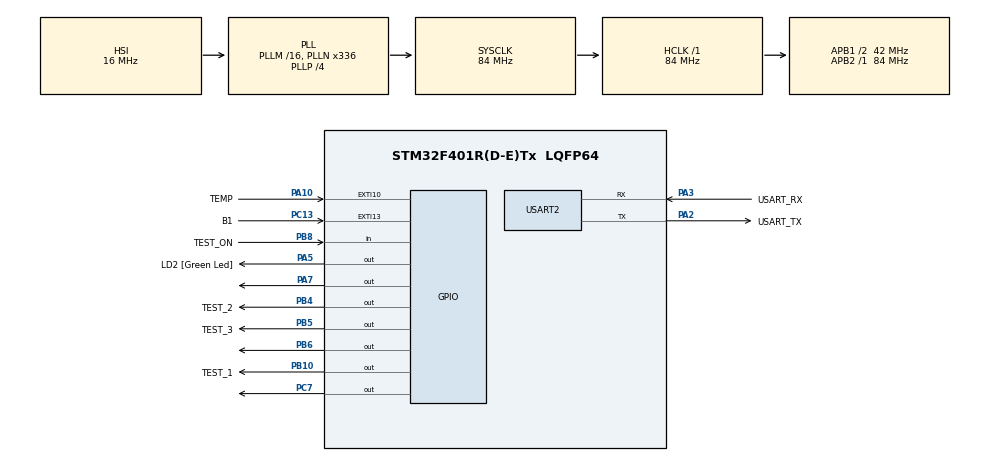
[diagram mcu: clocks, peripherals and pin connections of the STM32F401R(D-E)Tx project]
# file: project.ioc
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Mcu.Family=STM32F4
Mcu.Name=STM32F401R(D-E)Tx
Mcu.Package=LQFP64
NVIC.EXTI15_10_IRQn=true\:0\:0\:false\:false\:true\:true\:true\:true
NVIC.PriorityGroup=NVIC_PRIORITYGROUP_0
PA10.GPIO_Label=TEMP
PA10.GPIO_ModeDefaultEXTI=GPIO_MODE_IT_RISING_FALLING
PA10.GPIO_PuPd=GPIO_NOPULL
PA10.Signal=GPXTI10
PA13.GPIO_Label=TMS
PA13.Mode=Serial_Wire
PA13.Signal=SYS_JTMS-SWDIO
PA14.GPIO_Label=TCK
PA14.Mode=Serial_Wire
PA14.Signal=SYS_JTCK-SWCLK
PA2.GPIO_Label=USART_TX
PA2.GPIO_Mode=GPIO_MODE_AF_PP
PA2.GPIO_PuPd=GPIO_NOPULL
PA2.GPIO_Speed=GPIO_SPEED_FREQ_LOW
PA2.Mode=Asynchronous
PA2.Signal=USART2_TX
PA3.GPIO_Label=USART_RX
PA3.GPIO_Mode=GPIO_MODE_AF_PP
PA3.GPIO_PuPd=GPIO_NOPULL
PA3.GPIO_Speed=GPIO_SPEED_FREQ_LOW
PA3.Mode=Asynchronous
PA3.Signal=USART2_RX
PA5.GPIO_Label=LD2 [Green Led]
PA5.GPIO_Mode=GPIO_MODE_OUTPUT_PP
PA5.GPIO_PuPd=GPIO_NOPULL
PA5.GPIO_Speed=GPIO_SPEED_FREQ_LOW
PA5.Signal=GPIO_Output
PA7.Signal=GPIO_Output
PB10.GPIO_Label=TEST_1
PB10.Signal=GPIO_Output
PB3.GPIO_Label=SWO
PB3.Signal=SYS_JTDO-SWO
PB4.GPIO_Label=TEST_2
PB4.Signal=GPIO_Output
PB5.GPIO_Label=TEST_3
PB5.Signal=GPIO_Output
PB6.Signal=GPIO_Output
PB8.GPIO_Label=TEST_ON
PB8.GPIO_PuPd=GPIO_PULLDOWN
PB8.Signal=GPIO_Input
PC13-ANTI_TAMP.GPIO_Label=B1
PC13-ANTI_TAMP.GPIO_ModeDefaultEXTI=GPIO_MODE_IT_FALLING
PC13-ANTI_TAMP.GPIO_PuPd=GPIO_PULLDOWN
PC13-ANTI_TAMP.Signal=GPXTI13
PC14-OSC32_IN.Mode=LSE-External-Oscillator
PC14-OSC32_IN.Signal=RCC_OSC32_IN
PC15-OSC32_OUT.Mode=LSE-External-Oscillator
PC15-OSC32_OUT.Signal=RCC_OSC32_OUT
PC7.Signal=GPIO_Output
PH0\ -\ OSC_IN.Mode=HSE-External-Clock-Source
PH0\ -\ OSC_IN.Signal=RCC_OSC_IN
PH1\ -\ OSC_OUT.Mode=HSE-External-Clock-Source
PH1\ -\ OSC_OUT.Signal=RCC_OSC_OUT
ProjectManager.HeapSize=0x200
ProjectManager.StackSize=0x400
ProjectManager.TargetToolchain=STM32CubeIDE
RCC.48MHZClocksFreq_Value=48000000
RCC.AHBFreq_Value=84000000
RCC.APB1CLKDivider=RCC_HCLK_DIV2
RCC.APB1Freq_Value=42000000
RCC.APB1TimFreq_Value=84000000
RCC.APB2Freq_Value=84000000
RCC.APB2TimFreq_Value=84000000
RCC.CortexFreq_Value=84000000
RCC.HCLKFreq_Value=84000000
RCC.HSE_VALUE=8000000
RCC.HSI_VALUE=16000000
RCC.PLLN=336
RCC.PLLP=RCC_PLLP_DIV4
RCC.PLLQ=7
RCC.SYSCLKFreq_VALUE=84000000
RCC.SYSCLKSource=RCC_SYSCLKSOURCE_PLLCLK
RCC.VCOOutputFreq_Value=336000000
USART2.VirtualMode=VM_ASYNC
VP_TIM1_VS_ClockSourceINT.Mode=Internal
board=NUCLEO-F401RE

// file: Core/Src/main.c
/* USER CODE BEGIN Header */
/**
 ******************************************************************************
 * @file           : main.c
 * @brief          : Main program body
 ******************************************************************************
 * @attention
 *
 * Copyright (c) 2022 STMicroelectronics.
 * All rights reserved.
 *
 * This software is licensed under terms that can be found in the LICENSE file
 * in the root directory of this software component.
 * If no LICENSE file comes with this software, it is provided AS-IS.
 *
 ******************************************************************************
 */
/* USER CODE END Header */
#include "main.h"

/* USER CODE BEGIN Includes */
#include <stdbool.h>
#include <stdlib.h>
#include "utci.h"
#include "dht.h"

//#define LOGGING

#ifdef LOGGING
#include <stdio.h>
#endif
/* USER CODE END Includes */

TIM_HandleTypeDef htim1;

UART_HandleTypeDef huart2;

/* USER CODE BEGIN PV */
#define BUTTON_DELAY 500

DHT_t am2301;
uint8_t am2301_ok;

enum state {
	ALARM_ON,       // Alarm currently on: light red, speaker playing
	ALARM_CHECKING, // Device monitoring temperature: light green, speaker off
	ALARM_OFF // Alarm off due to override: light yellow, speaker off, no monitoring
};

#define TEST1_TARGET 1000 //MS delay
/* USER CODE END PV */

void SystemClock_Config(void);
static void MX_GPIO_Init(void);
static void MX_USART2_UART_Init(void);
static void MX_TIM1_Init(void);
/* USER CODE BEGIN PFP */
#ifdef LOGGING
#ifdef __GNUC__
#define PUTCHAR_PROTOTYPE int __io_putchar(int ch)
#else
#define PUTCHAR_PROTOTYPE int fputc(int ch, FILE *f)
#endif
#endif
/* USER CODE END PFP */

/* USER CODE BEGIN 0 */

void set_LED(enum state curr_state)
{
	bool R = false; // Boolean to write to pin D9
	bool G = false; // Boolean to write to pin D10
	bool B = false; // Boolean to write to pin D11

	switch (curr_state) {
	case ALARM_ON:       // Red colour
		R = true;
		G = false;
		B = false;
		break;
	case ALARM_CHECKING: // Green colour
		R = false;
		G = true;
		B = false;
		break;
	case ALARM_OFF:      // Yellow colour
		R = true;
		G = true;
		B = false;
		break;
	}

	if (R) {
		HAL_GPIO_WritePin(GPIOC, GPIO_PIN_7, GPIO_PIN_SET);
	} else {
		HAL_GPIO_WritePin(GPIOC, GPIO_PIN_7, GPIO_PIN_RESET);
	}

	if (G) {
		HAL_GPIO_WritePin(GPIOB, GPIO_PIN_6, GPIO_PIN_SET);
	} else {
		HAL_GPIO_WritePin(GPIOB, GPIO_PIN_6, GPIO_PIN_RESET);
	}

	if (B) {
		HAL_GPIO_WritePin(GPIOA, LD2_Pin | GPIO_PIN_7, GPIO_PIN_SET);
	} else {
		HAL_GPIO_WritePin(GPIOA, LD2_Pin | GPIO_PIN_7, GPIO_PIN_RESET);
	}
}

float calc_humidex(float temp, float humidity)
{
	return (temp + (0.5555 * (humidity - 10.0)));
}

#define HIGH_TEMP 39
#define LOW_TEMP 0

/**
 * Define situation as above "moderate heat stress" and below "moderate cold stress"
 */
void change_state(enum state *curr_state, float humidex_temp)
{
	if ((*curr_state) == ALARM_OFF) {
		return;
	}

	if (humidex_temp > HIGH_TEMP || humidex_temp < LOW_TEMP) {
		(*curr_state) = ALARM_ON;
	} else {
		(*curr_state) = ALARM_CHECKING;
	}
}

#define R_TEMP_LOW 10
#define R_TEMP_HIGH 50
#define R_HUMID_LOW 0
#define R_HUMID_HIGH 100

void test2_random()
{
	enum state test_state = ALARM_CHECKING;

	uint32_t rand_temp = 0;
	uint32_t rand_humid = 0;
	float validate = 0.0;
	float humidex_temp = 0.0;
	bool success = false;

	srand(HAL_GetTick());

	for (uint32_t i = 0; i < 100; ++i) {
		test_state = ALARM_CHECKING;
		success = false;
		rand_temp = R_TEMP_LOW + rand() % (R_TEMP_HIGH - R_TEMP_LOW);
		rand_humid = R_HUMID_LOW + rand() % (R_HUMID_HIGH - R_HUMID_LOW);

		humidex_temp = calc_humidex(rand_temp, rand_humid);

		change_state(&test_state, humidex_temp);

		set_LED(test_state);

		validate = rand_temp + (0.5555 * (rand_humid - 10.0));
		switch(test_state) {
		case ALARM_ON:
			success = (validate > HIGH_TEMP) || (validate < LOW_TEMP);
			break;
		case ALARM_CHECKING:
			success = (validate <= HIGH_TEMP) || (validate >= LOW_TEMP);
			break;
		case ALARM_OFF:
			success = false;
		}

		if (success) {
			HAL_GPIO_WritePin(GPIOB, TEST_2_Pin | GPIO_PIN_6, GPIO_PIN_SET);
		} else {
			HAL_GPIO_WritePin(GPIOB, TEST_2_Pin | GPIO_PIN_6, GPIO_PIN_RESET);
		}

		HAL_Delay(1000);
	}
}

/* USER CODE END 0 */

int main(void)
{

	/* MCU Configuration--------------------------------------------------------*/

	/* Reset of all peripherals, Initializes the Flash interface and the Systick. */
	HAL_Init();

	/* Configure the system clock */
	SystemClock_Config();

	/* Initialize all configured peripherals */
	MX_GPIO_Init();
	MX_USART2_UART_Init();
	MX_TIM1_Init();
	/* USER CODE BEGIN 2 */
	DHT_init(&am2301, DHT_Type_AM2301, &htim1, 84, TEMP_GPIO_Port,
	TEMP_Pin);

	enum state curr_state = ALARM_CHECKING;
	bool alarm_set = false;
	bool testing = false;
	float temp = 0.0;
	float humidity = 0.0; // in RH
	float humidex_temp = 0.0;
	bool test_run = false;

	uint32_t test1_tstart = 0;
	uint32_t test1_elapsed = 0;

	/* USER CODE END 2 */

	/* Infinite loop */
	/* USER CODE BEGIN WHILE */
	while (true) {
		/* USER CODE END WHILE */

		/* USER CODE BEGIN 3 */
		if (HAL_GPIO_ReadPin(TEST_ON_GPIO_Port, TEST_ON_Pin)) {
			testing = true;
		} else {
			testing = false;
		}

		if (testing && !test_run) {
			test2_random();
			test_run = true;
		}

		if (testing) {
			test1_tstart = HAL_GetTick(	); // stores current time since system start in MS
		}

		set_LED(curr_state);

		if (alarm_set) {
			HAL_Delay(BUTTON_DELAY);
			alarm_set = false;
		}

		if (!(HAL_GPIO_ReadPin(B1_GPIO_Port, B1_Pin))) {
			switch (curr_state) {
			case ALARM_ON:
			case ALARM_CHECKING:
				curr_state = ALARM_OFF;
				break;
			case ALARM_OFF:
				curr_state = ALARM_CHECKING;
				break;
			}

			alarm_set = true;
		}

		am2301_ok = DHT_readData(&am2301, &temp, &humidity);

#ifdef LOGGING
		printf("Data OK: %d\n", am2301.dataValid);
		printf("Raw: %4.2f %4.2f\n", am2301.temperature,
				am2301.humidity);
		printf("Temperature: %4.2f %4.2f\n", temp, humidity);
#endif

		humidex_temp = (float) calc_humidex(temp, humidity);

#ifdef LOGGING
		printf("UTCI temperature: %4.2f\n", utci_temp);
#endif

		change_state(&curr_state, humidex_temp);

		if (testing) {
			test1_elapsed = HAL_GetTick() - test1_tstart;
			if (test1_elapsed < TEST1_TARGET) {
				HAL_GPIO_WritePin(GPIOB, TEST_1_Pin | GPIO_PIN_6,
						GPIO_PIN_SET);
			} else {
				HAL_GPIO_WritePin(GPIOB, TEST_1_Pin | GPIO_PIN_6,
						GPIO_PIN_RESET);
			}
		} else {
			HAL_GPIO_WritePin(GPIOB, TEST_1_Pin | GPIO_PIN_6,
									GPIO_PIN_RESET);
			HAL_GPIO_WritePin(GPIOB, TEST_2_Pin | GPIO_PIN_6,
									GPIO_PIN_RESET);
			HAL_GPIO_WritePin(GPIOB, TEST_3_Pin | GPIO_PIN_6,
									GPIO_PIN_RESET);
		}
	}
	/* USER CODE END 3 */
}

void SystemClock_Config(void)
{
	RCC_OscInitTypeDef RCC_OscInitStruct = { 0 };
	RCC_ClkInitTypeDef RCC_ClkInitStruct = { 0 };

	/** Configure the main internal regulator output voltage
	 */
	__HAL_RCC_PWR_CLK_ENABLE();
	__HAL_PWR_VOLTAGESCALING_CONFIG(PWR_REGULATOR_VOLTAGE_SCALE2);

	/** Initializes the RCC Oscillators according to the specified parameters
	 * in the RCC_OscInitTypeDef structure.
	 */
	RCC_OscInitStruct.OscillatorType = RCC_OSCILLATORTYPE_HSI;
	RCC_OscInitStruct.HSIState = RCC_HSI_ON;
	RCC_OscInitStruct.HSICalibrationValue = RCC_HSICALIBRATION_DEFAULT;
	RCC_OscInitStruct.PLL.PLLState = RCC_PLL_ON;
	RCC_OscInitStruct.PLL.PLLSource = RCC_PLLSOURCE_HSI;
	RCC_OscInitStruct.PLL.PLLM = 16;
	RCC_OscInitStruct.PLL.PLLN = 336;
	RCC_OscInitStruct.PLL.PLLP = RCC_PLLP_DIV4;
	RCC_OscInitStruct.PLL.PLLQ = 7;
	if (HAL_RCC_OscConfig(&RCC_OscInitStruct) != HAL_OK) {
		Error_Handler();
	}

	/** Initializes the CPU, AHB and APB buses clocks
	 */
	RCC_ClkInitStruct.ClockType = RCC_CLOCKTYPE_HCLK | RCC_CLOCKTYPE_SYSCLK
			| RCC_CLOCKTYPE_PCLK1 | RCC_CLOCKTYPE_PCLK2;
	RCC_ClkInitStruct.SYSCLKSource = RCC_SYSCLKSOURCE_PLLCLK;
	RCC_ClkInitStruct.AHBCLKDivider = RCC_SYSCLK_DIV1;
	RCC_ClkInitStruct.APB1CLKDivider = RCC_HCLK_DIV2;
	RCC_ClkInitStruct.APB2CLKDivider = RCC_HCLK_DIV1;

	if (HAL_RCC_ClockConfig(&RCC_ClkInitStruct, FLASH_LATENCY_2)
			!= HAL_OK) {
		Error_Handler();
	}
}

static void MX_TIM1_Init(void)
{

	TIM_ClockConfigTypeDef sClockSourceConfig = { 0 };
	TIM_MasterConfigTypeDef sMasterConfig = { 0 };

	htim1.Instance = TIM1;
	htim1.Init.Prescaler = 0;
	htim1.Init.CounterMode = TIM_COUNTERMODE_UP;
	htim1.Init.Period = 65535;
	htim1.Init.ClockDivision = TIM_CLOCKDIVISION_DIV1;
	htim1.Init.RepetitionCounter = 0;
	htim1.Init.AutoReloadPreload = TIM_AUTORELOAD_PRELOAD_DISABLE;
	if (HAL_TIM_Base_Init(&htim1) != HAL_OK) {
		Error_Handler();
	}
	sClockSourceConfig.ClockSource = TIM_CLOCKSOURCE_INTERNAL;
	if (HAL_TIM_ConfigClockSource(&htim1, &sClockSourceConfig) != HAL_OK) {
		Error_Handler();
	}
	sMasterConfig.MasterOutputTrigger = TIM_TRGO_RESET;
	sMasterConfig.MasterSlaveMode = TIM_MASTERSLAVEMODE_DISABLE;
	if (HAL_TIMEx_MasterConfigSynchronization(&htim1, &sMasterConfig)
			!= HAL_OK) {
		Error_Handler();
	}

}

static void MX_USART2_UART_Init(void)
{

	huart2.Instance = USART2;
	huart2.Init.BaudRate = 115200;
	huart2.Init.WordLength = UART_WORDLENGTH_8B;
	huart2.Init.StopBits = UART_STOPBITS_1;
	huart2.Init.Parity = UART_PARITY_NONE;
	huart2.Init.Mode = UART_MODE_TX_RX;
	huart2.Init.HwFlowCtl = UART_HWCONTROL_NONE;
	huart2.Init.OverSampling = UART_OVERSAMPLING_16;
	if (HAL_UART_Init(&huart2) != HAL_OK) {
		Error_Handler();
	}

}

static void MX_GPIO_Init(void)
{
	GPIO_InitTypeDef GPIO_InitStruct = { 0 };

	/* GPIO Ports Clock Enable */
	__HAL_RCC_GPIOC_CLK_ENABLE();
	__HAL_RCC_GPIOH_CLK_ENABLE();
	__HAL_RCC_GPIOA_CLK_ENABLE();
	__HAL_RCC_GPIOB_CLK_ENABLE();

	/*Configure GPIO pin Output Level */
	HAL_GPIO_WritePin(GPIOA, LD2_Pin | GPIO_PIN_7, GPIO_PIN_RESET);

	/*Configure GPIO pin Output Level */
	HAL_GPIO_WritePin(GPIOB,
			TEST_1_Pin | TEST_2_Pin | TEST_3_Pin | GPIO_PIN_6,
			GPIO_PIN_RESET);

	/*Configure GPIO pin Output Level */
	HAL_GPIO_WritePin(GPIOC, GPIO_PIN_7, GPIO_PIN_RESET);

	/*Configure GPIO pin : B1_Pin */
	GPIO_InitStruct.Pin = B1_Pin;
	GPIO_InitStruct.Mode = GPIO_MODE_IT_FALLING;
	GPIO_InitStruct.Pull = GPIO_PULLDOWN;
	HAL_GPIO_Init(B1_GPIO_Port, &GPIO_InitStruct);

	/*Configure GPIO pins : LD2_Pin PA7 */
	GPIO_InitStruct.Pin = LD2_Pin | GPIO_PIN_7;
	GPIO_InitStruct.Mode = GPIO_MODE_OUTPUT_PP;
	GPIO_InitStruct.Pull = GPIO_NOPULL;
	GPIO_InitStruct.Speed = GPIO_SPEED_FREQ_LOW;
	HAL_GPIO_Init(GPIOA, &GPIO_InitStruct);

	/*Configure GPIO pins : TEST_1_Pin TEST_2_Pin TEST_3_Pin PB6 */
	GPIO_InitStruct.Pin = TEST_1_Pin | TEST_2_Pin | TEST_3_Pin | GPIO_PIN_6;
	GPIO_InitStruct.Mode = GPIO_MODE_OUTPUT_PP;
	GPIO_InitStruct.Pull = GPIO_NOPULL;
	GPIO_InitStruct.Speed = GPIO_SPEED_FREQ_LOW;
	HAL_GPIO_Init(GPIOB, &GPIO_InitStruct);

	/*Configure GPIO pin : PC7 */
	GPIO_InitStruct.Pin = GPIO_PIN_7;
	GPIO_InitStruct.Mode = GPIO_MODE_OUTPUT_PP;
	GPIO_InitStruct.Pull = GPIO_NOPULL;
	GPIO_InitStruct.Speed = GPIO_SPEED_FREQ_LOW;
	HAL_GPIO_Init(GPIOC, &GPIO_InitStruct);

	/*Configure GPIO pin : TEMP_Pin */
	GPIO_InitStruct.Pin = TEMP_Pin;
	GPIO_InitStruct.Mode = GPIO_MODE_IT_RISING_FALLING;
	GPIO_InitStruct.Pull = GPIO_NOPULL;
	HAL_GPIO_Init(TEMP_GPIO_Port, &GPIO_InitStruct);

	/*Configure GPIO pin : TEST_ON_Pin */
	GPIO_InitStruct.Pin = TEST_ON_Pin;
	GPIO_InitStruct.Mode = GPIO_MODE_INPUT;
	GPIO_InitStruct.Pull = GPIO_PULLDOWN;
	HAL_GPIO_Init(TEST_ON_GPIO_Port, &GPIO_InitStruct);

	/* EXTI interrupt init*/
	HAL_NVIC_SetPriority(EXTI15_10_IRQn, 0, 0);
	HAL_NVIC_EnableIRQ(EXTI15_10_IRQn);

}

/* USER CODE BEGIN 4 */

void HAL_GPIO_EXTI_Callback(uint16_t GPIO_Pin)
{
	if (GPIO_Pin == am2301.pin) {
		DHT_pinChangeCallBack(&am2301);
	}
}

#ifdef LOGGING
/**
 * @brief  Retargets the C library printf function to the USART.
 * @param  None
 * @retval None
 */
PUTCHAR_PROTOTYPE
{
	/* Place your implementation of fputc here */
	/* e.g. write a character to the USART1 and Loop until the end of transmission */
	HAL_UART_Transmit(&huart2, (uint8_t*) &ch, 1, 0xFFFF);

	return ch;
}
#endif

/* USER CODE END 4 */

void Error_Handler(void)
{
	__disable_irq();
	while (1) {
	}
}
